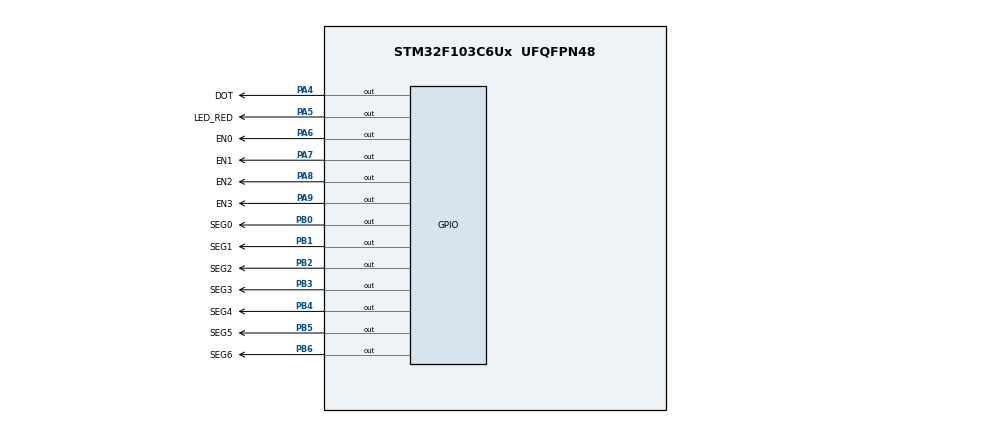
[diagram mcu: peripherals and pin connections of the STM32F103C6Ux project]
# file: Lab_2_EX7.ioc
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Mcu.Family=STM32F1
Mcu.Name=STM32F103C6Ux
Mcu.Package=UFQFPN48
NVIC.PriorityGroup=NVIC_PRIORITYGROUP_4
NVIC.TIM2_IRQn=true\:0\:0\:false\:false\:true\:true\:true
PA4.GPIO_Label=DOT
PA4.Signal=GPIO_Output
PA5.GPIO_Label=LED_RED
PA5.Signal=GPIO_Output
PA6.GPIO_Label=EN0
PA6.Signal=GPIO_Output
PA7.GPIO_Label=EN1
PA7.Signal=GPIO_Output
PA8.GPIO_Label=EN2
PA8.Signal=GPIO_Output
PA9.GPIO_Label=EN3
PA9.Signal=GPIO_Output
PB0.GPIO_Label=SEG0
PB0.Signal=GPIO_Output
PB1.GPIO_Label=SEG1
PB1.Signal=GPIO_Output
PB2.GPIO_Label=SEG2
PB2.Signal=GPIO_Output
PB3.GPIO_Label=SEG3
PB3.Signal=GPIO_Output
PB4.GPIO_Label=SEG4
PB4.Signal=GPIO_Output
PB5.GPIO_Label=SEG5
PB5.Signal=GPIO_Output
PB6.GPIO_Label=SEG6
PB6.Signal=GPIO_Output
ProjectManager.HeapSize=0x200
ProjectManager.StackSize=0x400
ProjectManager.TargetToolchain=STM32CubeIDE
RCC.APB1Freq_Value=8000000
RCC.APB2Freq_Value=8000000
TIM2.Period=9
TIM2.Prescaler=7999
VP_SYS_VS_ND.Mode=No_Debug
VP_TIM2_VS_ClockSourceINT.Mode=Internal
board=custom

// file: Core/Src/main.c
/* USER CODE BEGIN Header */
/**
  ******************************************************************************
  * @file           : main.c
  * @brief          : Main program body
  ******************************************************************************
  * @attention
  *
  * <h2><center>&copy; Copyright (c) 2026 STMicroelectronics.
  * All rights reserved.</center></h2>
  *
  * This software component is licensed by ST under BSD 3-Clause license,
  * the "License"; You may not use this file except in compliance with the
  * License. You may obtain a copy of the License at:
  *                        opensource.org/licenses/BSD-3-Clause
  *
  ******************************************************************************
  */
/* USER CODE END Header */
#include "main.h"

TIM_HandleTypeDef htim2;

void SystemClock_Config(void);
static void MX_GPIO_Init(void);
static void MX_TIM2_Init(void);

/* USER CODE BEGIN 0 */
const uint8_t seg_code[10] = {
  0x3F, 0x06, 0x5B, 0x4F, 0x66, 0x6D, 0x7D, 0x07, 0x7F, 0x6F
};

void display7SEG(int num) {
  if (num < 0 || num > 9) return;
  uint8_t code = seg_code[num];
  for (int i = 0; i < 7; i++) {
    // common anode: segment ON = write 0
    HAL_GPIO_WritePin(GPIOB, GPIO_PIN_0 << i,
                      ((code >> i) & 1) ? GPIO_PIN_RESET : GPIO_PIN_SET);
  }
}

const int MAX_LED = 4;
int index_led = 0;
int led_buffer[4] = {1, 2, 3, 4};

void update7SEG(int index) {
  // turn all 4 displays off first
  HAL_GPIO_WritePin(GPIOA, EN0_Pin | EN1_Pin | EN2_Pin | EN3_Pin, GPIO_PIN_SET);

  switch (index) {
    case 0:
      // Display the first 7SEG with led_buffer[0]
      display7SEG(led_buffer[0]);
      HAL_GPIO_WritePin(EN0_GPIO_Port, EN0_Pin, GPIO_PIN_RESET);
      break;
    case 1:
      // Display the second 7SEG with led_buffer[1]
      display7SEG(led_buffer[1]);
      HAL_GPIO_WritePin(EN1_GPIO_Port, EN1_Pin, GPIO_PIN_RESET);
      break;
    case 2:
      // Display the third 7SEG with led_buffer[2]
      display7SEG(led_buffer[2]);
      HAL_GPIO_WritePin(EN2_GPIO_Port, EN2_Pin, GPIO_PIN_RESET);
      break;
    case 3:
      // Display the fourth 7SEG with led_buffer[3]
      display7SEG(led_buffer[3]);
      HAL_GPIO_WritePin(EN3_GPIO_Port, EN3_Pin, GPIO_PIN_RESET);
      break;
    default:
      break;   // invalid index: leave everything off
  }
}

int hour = 15, minute = 8, second = 50;

void updateClockBuffer(void) {
  led_buffer[0] = hour / 10;     // tens of hour
  led_buffer[1] = hour % 10;     // units of hour
  led_buffer[2] = minute / 10;   // tens of minute
  led_buffer[3] = minute % 10;   // units of minute
}

int timer0_counter = 0;
int timer0_flag = 0;
int TIMER_CYCLE = 10;

void setTimer0(int duration) {
  timer0_counter = duration / TIMER_CYCLE;
  timer0_flag = 0;
}

void timer_run() {
  if (timer0_counter > 0) {
    timer0_counter--;
    if (timer0_counter == 0) timer0_flag = 1;
  }
}
/* USER CODE END 0 */

int main(void)
{

  /* MCU Configuration--------------------------------------------------------*/

  /* Reset of all peripherals, Initializes the Flash interface and the Systick. */
  HAL_Init();

  /* Configure the system clock */
  SystemClock_Config();

  /* Initialize all configured peripherals */
  MX_GPIO_Init();
  MX_TIM2_Init();
  /* USER CODE BEGIN 2 */
  HAL_TIM_Base_Start_IT(&htim2);
  /* USER CODE END 2 */

  /* Infinite loop */
  /* USER CODE BEGIN WHILE */

  updateClockBuffer();
  setTimer0(1000);
  while (1)
  {
	  if (timer0_flag == 1)
	  {
	    setTimer0(1000);

	    second++;
	    if (second >= 60)
	    {
	      second = 0;
	      minute++;
	    }
	    if (minute >= 60)
	    {
	      minute = 0;
	      hour++;
	    }
	    if (hour >= 24)
	    {
	      hour = 0;
	    }
	    updateClockBuffer();

	    HAL_GPIO_TogglePin(DOT_GPIO_Port, DOT_Pin);
	  }
    /* USER CODE END WHILE */

  }
}

void SystemClock_Config(void)
{
  RCC_OscInitTypeDef RCC_OscInitStruct = {0};
  RCC_ClkInitTypeDef RCC_ClkInitStruct = {0};

  /** Initializes the RCC Oscillators according to the specified parameters
  * in the RCC_OscInitTypeDef structure.
  */
  RCC_OscInitStruct.OscillatorType = RCC_OSCILLATORTYPE_HSI;
  RCC_OscInitStruct.HSIState = RCC_HSI_ON;
  RCC_OscInitStruct.HSICalibrationValue = RCC_HSICALIBRATION_DEFAULT;
  RCC_OscInitStruct.PLL.PLLState = RCC_PLL_NONE;
  if (HAL_RCC_OscConfig(&RCC_OscInitStruct) != HAL_OK)
  {
    Error_Handler();
  }
  /** Initializes the CPU, AHB and APB buses clocks
  */
  RCC_ClkInitStruct.ClockType = RCC_CLOCKTYPE_HCLK|RCC_CLOCKTYPE_SYSCLK
                              |RCC_CLOCKTYPE_PCLK1|RCC_CLOCKTYPE_PCLK2;
  RCC_ClkInitStruct.SYSCLKSource = RCC_SYSCLKSOURCE_HSI;
  RCC_ClkInitStruct.AHBCLKDivider = RCC_SYSCLK_DIV1;
  RCC_ClkInitStruct.APB1CLKDivider = RCC_HCLK_DIV1;
  RCC_ClkInitStruct.APB2CLKDivider = RCC_HCLK_DIV1;

  if (HAL_RCC_ClockConfig(&RCC_ClkInitStruct, FLASH_LATENCY_0) != HAL_OK)
  {
    Error_Handler();
  }
}

static void MX_TIM2_Init(void)
{

  TIM_ClockConfigTypeDef sClockSourceConfig = {0};
  TIM_MasterConfigTypeDef sMasterConfig = {0};

  htim2.Instance = TIM2;
  htim2.Init.Prescaler = 7999;
  htim2.Init.CounterMode = TIM_COUNTERMODE_UP;
  htim2.Init.Period = 9;
  htim2.Init.ClockDivision = TIM_CLOCKDIVISION_DIV1;
  htim2.Init.AutoReloadPreload = TIM_AUTORELOAD_PRELOAD_DISABLE;
  if (HAL_TIM_Base_Init(&htim2) != HAL_OK)
  {
    Error_Handler();
  }
  sClockSourceConfig.ClockSource = TIM_CLOCKSOURCE_INTERNAL;
  if (HAL_TIM_ConfigClockSource(&htim2, &sClockSourceConfig) != HAL_OK)
  {
    Error_Handler();
  }
  sMasterConfig.MasterOutputTrigger = TIM_TRGO_RESET;
  sMasterConfig.MasterSlaveMode = TIM_MASTERSLAVEMODE_DISABLE;
  if (HAL_TIMEx_MasterConfigSynchronization(&htim2, &sMasterConfig) != HAL_OK)
  {
    Error_Handler();
  }

}

static void MX_GPIO_Init(void)
{
  GPIO_InitTypeDef GPIO_InitStruct = {0};

  /* GPIO Ports Clock Enable */
  __HAL_RCC_GPIOA_CLK_ENABLE();
  __HAL_RCC_GPIOB_CLK_ENABLE();

  /*Configure GPIO pin Output Level */
  HAL_GPIO_WritePin(GPIOA, DOT_Pin|LED_RED_Pin|EN0_Pin|EN1_Pin
                          |EN2_Pin|EN3_Pin, GPIO_PIN_RESET);

  /*Configure GPIO pin Output Level */
  HAL_GPIO_WritePin(GPIOB, SEG0_Pin|SEG1_Pin|SEG2_Pin|SEG3_Pin
                          |SEG4_Pin|SEG5_Pin|SEG6_Pin, GPIO_PIN_RESET);

  /*Configure GPIO pins : DOT_Pin LED_RED_Pin EN0_Pin EN1_Pin
                           EN2_Pin EN3_Pin */
  GPIO_InitStruct.Pin = DOT_Pin|LED_RED_Pin|EN0_Pin|EN1_Pin
                          |EN2_Pin|EN3_Pin;
  GPIO_InitStruct.Mode = GPIO_MODE_OUTPUT_PP;
  GPIO_InitStruct.Pull = GPIO_NOPULL;
  GPIO_InitStruct.Speed = GPIO_SPEED_FREQ_LOW;
  HAL_GPIO_Init(GPIOA, &GPIO_InitStruct);

  /*Configure GPIO pins : SEG0_Pin SEG1_Pin SEG2_Pin SEG3_Pin
                           SEG4_Pin SEG5_Pin SEG6_Pin */
  GPIO_InitStruct.Pin = SEG0_Pin|SEG1_Pin|SEG2_Pin|SEG3_Pin
                          |SEG4_Pin|SEG5_Pin|SEG6_Pin;
  GPIO_InitStruct.Mode = GPIO_MODE_OUTPUT_PP;
  GPIO_InitStruct.Pull = GPIO_NOPULL;
  GPIO_InitStruct.Speed = GPIO_SPEED_FREQ_LOW;
  HAL_GPIO_Init(GPIOB, &GPIO_InitStruct);

}

/* USER CODE BEGIN 4 */
int counter_seg = 25;

void HAL_TIM_PeriodElapsedCallback(TIM_HandleTypeDef *htim) {
  if (htim->Instance != TIM2) return;

  timer_run();

  // --- 7-segment scanning ---
  counter_seg--;
  if (counter_seg <= 0) {
    counter_seg = 25;
    update7SEG(index_led++);
    if (index_led >= MAX_LED) index_led = 0;
  }
}
/* USER CODE END 4 */

void Error_Handler(void)
{
  __disable_irq();
  while (1)
  {
  }
}

/************************ (C) COPYRIGHT STMicroelectronics *****END OF FILE****/
